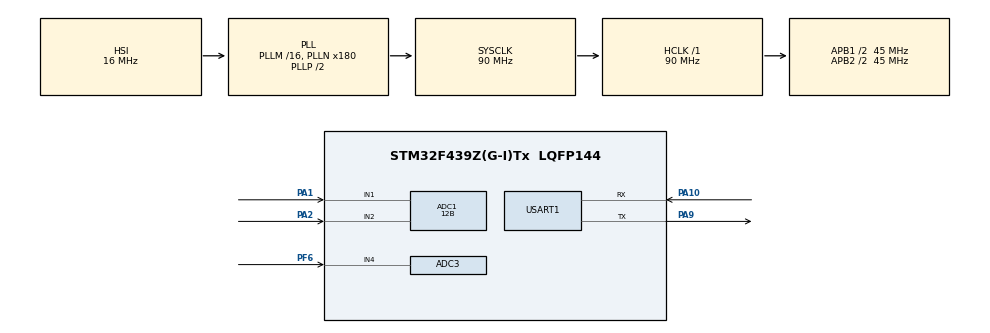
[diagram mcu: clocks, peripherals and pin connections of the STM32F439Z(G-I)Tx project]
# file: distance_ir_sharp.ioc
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ADC1.Channel-1\#ChannelRegularConversion=ADC_CHANNEL_1
ADC1.Channel-3\#ChannelRegularConversion=ADC_CHANNEL_2
ADC1.ClockPrescaler=ADC_CLOCK_SYNC_PCLK_DIV2
ADC1.ContinuousConvMode=ENABLE
ADC1.NbrOfConversion=2
ADC1.NbrOfConversionFlag=1
ADC1.Rank-1\#ChannelRegularConversion=1
ADC1.Rank-3\#ChannelRegularConversion=2
ADC1.Resolution=ADC_RESOLUTION_12B
ADC1.SamplingTime-1\#ChannelRegularConversion=ADC_SAMPLETIME_3CYCLES
ADC1.SamplingTime-3\#ChannelRegularConversion=ADC_SAMPLETIME_3CYCLES
ADC1.master=1
ADC3.Channel-7\#ChannelRegularConversion=ADC_CHANNEL_4
ADC3.ContinuousConvMode=ENABLE
ADC3.NbrOfConversionFlag=1
ADC3.Rank-7\#ChannelRegularConversion=1
ADC3.SamplingTime-7\#ChannelRegularConversion=ADC_SAMPLETIME_3CYCLES
Mcu.Family=STM32F4
Mcu.Name=STM32F439Z(G-I)Tx
Mcu.Package=LQFP144
NVIC.ADC_IRQn=true\:0\:0\:false\:false\:true\:true\:true
NVIC.PriorityGroup=NVIC_PRIORITYGROUP_4
PA1.Signal=ADCx_IN1
PA10.Mode=Asynchronous
PA10.Signal=USART1_RX
PA2.Signal=ADCx_IN2
PA9.Mode=Asynchronous
PA9.Signal=USART1_TX
PF6.Mode=IN4
PF6.Signal=ADC3_IN4
ProjectManager.HeapSize=0x200
ProjectManager.StackSize=0x400
ProjectManager.TargetToolchain=MDK-ARM V5
RCC.48MHZClocksFreq_Value=45000000
RCC.AHBFreq_Value=90000000
RCC.APB1CLKDivider=RCC_HCLK_DIV2
RCC.APB1Freq_Value=45000000
RCC.APB1TimFreq_Value=90000000
RCC.APB2CLKDivider=RCC_HCLK_DIV2
RCC.APB2Freq_Value=45000000
RCC.APB2TimFreq_Value=90000000
RCC.CortexFreq_Value=90000000
RCC.HCLKFreq_Value=90000000
RCC.HSE_VALUE=25000000
RCC.HSI_VALUE=16000000
RCC.LSE_VALUE=32768
RCC.PLLN=180
RCC.SYSCLKFreq_VALUE=90000000
RCC.SYSCLKSource=RCC_SYSCLKSOURCE_PLLCLK
RCC.VCOOutputFreq_Value=180000000
SH.ADCx_IN1.0=ADC1_IN1,IN1
SH.ADCx_IN2.0=ADC1_IN2,IN2
TIM4.Prescaler=89
USART1.VirtualMode=VM_ASYNC
VP_TIM4_VS_ClockSourceINT.Mode=Internal
board=custom

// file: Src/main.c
/* USER CODE BEGIN Header */
/**
  ******************************************************************************
  * @file           : main.c
  * @brief          : Main program body
  ******************************************************************************
  * @attention
  *
  * <h2><center>&copy; Copyright (c) 2020 STMicroelectronics.
  * All rights reserved.</center></h2>
  *
  * This software component is licensed by ST under BSD 3-Clause license,
  * the "License"; You may not use this file except in compliance with the
  * License. You may obtain a copy of the License at:
  *                        opensource.org/licenses/BSD-3-Clause
  *
  ******************************************************************************
  */
/* USER CODE END Header */

#include "main.h"

/* USER CODE BEGIN Includes */
#include <string.h>
#include <stdio.h>
/* USER CODE END Includes */

/* USER CODE BEGIN PTD */
#define usTIM TIM4
/* USER CODE END PTD */

ADC_HandleTypeDef hadc1;
ADC_HandleTypeDef hadc3;

TIM_HandleTypeDef htim4;

UART_HandleTypeDef huart1;

void SystemClock_Config(void);
static void MX_GPIO_Init(void);
static void MX_ADC1_Init(void);
static void MX_USART1_UART_Init(void);
static void MX_TIM4_Init(void);
static void MX_ADC3_Init(void);
/* USER CODE BEGIN PFP */
void usDelay(uint32_t uSec);
/* USER CODE END PFP */

/* USER CODE BEGIN 0 */
float distance;
uint32_t adcvalue;
char uartBuf[100];
uint8_t icFlag = 0;

/* USER CODE END 0 */

int main(void)
{

  /* MCU Configuration--------------------------------------------------------*/

  /* Reset of all peripherals, Initializes the Flash interface and the Systick. */
  HAL_Init();

  /* Configure the system clock */
  SystemClock_Config();

  /* Initialize all configured peripherals */
  MX_GPIO_Init();
  MX_ADC1_Init();
  MX_USART1_UART_Init();
  MX_TIM4_Init();
  MX_ADC3_Init();
  /* USER CODE BEGIN 2 */
HAL_ADC_Start(&hadc1);

  /* USER CODE END 2 */

  /* Infinite loop */
  while (1)
  {

    /* USER CODE BEGIN 3 */
/*
    HAL_ADC_Start_IT (&hadc1);
    uint32_t startTick = HAL_GetTick();
		do
		{
			if(icFlag) break;
		}while((HAL_GetTick() - startTick) < 50);  //50ms
		icFlag = 0;
		HAL_ADC_Stop_IT(&hadc1);
		distance = adcvalue + 0.0f;
*/
		HAL_ADC_Start_IT (&hadc3);
		sprintf(uartBuf, "Voltage  = %u\r\n", adcvalue);
    //sprintf(uartBuf, "Distance (cm)  = %.4f\r\n", distance);
		HAL_UART_Transmit(&huart1, (uint8_t *)uartBuf, strlen(uartBuf), 100);
		HAL_Delay(1000);

  }
  /* USER CODE END 3 */
}

void SystemClock_Config(void)
{
  RCC_OscInitTypeDef RCC_OscInitStruct = {0};
  RCC_ClkInitTypeDef RCC_ClkInitStruct = {0};

  /** Configure the main internal regulator output voltage
  */
  __HAL_RCC_PWR_CLK_ENABLE();
  __HAL_PWR_VOLTAGESCALING_CONFIG(PWR_REGULATOR_VOLTAGE_SCALE3);
  /** Initializes the CPU, AHB and APB busses clocks
  */
  RCC_OscInitStruct.OscillatorType = RCC_OSCILLATORTYPE_HSI;
  RCC_OscInitStruct.HSIState = RCC_HSI_ON;
  RCC_OscInitStruct.HSICalibrationValue = RCC_HSICALIBRATION_DEFAULT;
  RCC_OscInitStruct.PLL.PLLState = RCC_PLL_ON;
  RCC_OscInitStruct.PLL.PLLSource = RCC_PLLSOURCE_HSI;
  RCC_OscInitStruct.PLL.PLLM = 16;
  RCC_OscInitStruct.PLL.PLLN = 180;
  RCC_OscInitStruct.PLL.PLLP = RCC_PLLP_DIV2;
  RCC_OscInitStruct.PLL.PLLQ = 4;
  if (HAL_RCC_OscConfig(&RCC_OscInitStruct) != HAL_OK)
  {
    Error_Handler();
  }
  /** Activate the Over-Drive mode
  */
  if (HAL_PWREx_EnableOverDrive() != HAL_OK)
  {
    Error_Handler();
  }
  /** Initializes the CPU, AHB and APB busses clocks
  */
  RCC_ClkInitStruct.ClockType = RCC_CLOCKTYPE_HCLK|RCC_CLOCKTYPE_SYSCLK
                              |RCC_CLOCKTYPE_PCLK1|RCC_CLOCKTYPE_PCLK2;
  RCC_ClkInitStruct.SYSCLKSource = RCC_SYSCLKSOURCE_PLLCLK;
  RCC_ClkInitStruct.AHBCLKDivider = RCC_SYSCLK_DIV1;
  RCC_ClkInitStruct.APB1CLKDivider = RCC_HCLK_DIV2;
  RCC_ClkInitStruct.APB2CLKDivider = RCC_HCLK_DIV2;

  if (HAL_RCC_ClockConfig(&RCC_ClkInitStruct, FLASH_LATENCY_2) != HAL_OK)
  {
    Error_Handler();
  }
}

static void MX_ADC1_Init(void)
{

  ADC_ChannelConfTypeDef sConfig = {0};

  /** Configure the global features of the ADC (Clock, Resolution, Data Alignment and number of conversion)
  */
  hadc1.Instance = ADC1;
  hadc1.Init.ClockPrescaler = ADC_CLOCK_SYNC_PCLK_DIV2;
  hadc1.Init.Resolution = ADC_RESOLUTION_12B;
  hadc1.Init.ScanConvMode = ENABLE;
  hadc1.Init.ContinuousConvMode = ENABLE;
  hadc1.Init.DiscontinuousConvMode = DISABLE;
  hadc1.Init.ExternalTrigConvEdge = ADC_EXTERNALTRIGCONVEDGE_NONE;
  hadc1.Init.ExternalTrigConv = ADC_SOFTWARE_START;
  hadc1.Init.DataAlign = ADC_DATAALIGN_RIGHT;
  hadc1.Init.NbrOfConversion = 2;
  hadc1.Init.DMAContinuousRequests = DISABLE;
  hadc1.Init.EOCSelection = ADC_EOC_SINGLE_CONV;
  if (HAL_ADC_Init(&hadc1) != HAL_OK)
  {
    Error_Handler();
  }
  /** Configure for the selected ADC regular channel its corresponding rank in the sequencer and its sample time.
  */
  sConfig.Channel = ADC_CHANNEL_1;
  sConfig.Rank = 1;
  sConfig.SamplingTime = ADC_SAMPLETIME_3CYCLES;
  if (HAL_ADC_ConfigChannel(&hadc1, &sConfig) != HAL_OK)
  {
    Error_Handler();
  }
  /** Configure for the selected ADC regular channel its corresponding rank in the sequencer and its sample time.
  */
  sConfig.Channel = ADC_CHANNEL_2;
  sConfig.Rank = 2;
  if (HAL_ADC_ConfigChannel(&hadc1, &sConfig) != HAL_OK)
  {
    Error_Handler();
  }

}

static void MX_ADC3_Init(void)
{

  ADC_ChannelConfTypeDef sConfig = {0};

  /** Configure the global features of the ADC (Clock, Resolution, Data Alignment and number of conversion)
  */
  hadc3.Instance = ADC3;
  hadc3.Init.ClockPrescaler = ADC_CLOCK_SYNC_PCLK_DIV2;
  hadc3.Init.Resolution = ADC_RESOLUTION_12B;
  hadc3.Init.ScanConvMode = DISABLE;
  hadc3.Init.ContinuousConvMode = ENABLE;
  hadc3.Init.DiscontinuousConvMode = DISABLE;
  hadc3.Init.ExternalTrigConvEdge = ADC_EXTERNALTRIGCONVEDGE_NONE;
  hadc3.Init.ExternalTrigConv = ADC_SOFTWARE_START;
  hadc3.Init.DataAlign = ADC_DATAALIGN_RIGHT;
  hadc3.Init.NbrOfConversion = 1;
  hadc3.Init.DMAContinuousRequests = DISABLE;
  hadc3.Init.EOCSelection = ADC_EOC_SINGLE_CONV;
  if (HAL_ADC_Init(&hadc3) != HAL_OK)
  {
    Error_Handler();
  }
  /** Configure for the selected ADC regular channel its corresponding rank in the sequencer and its sample time.
  */
  sConfig.Channel = ADC_CHANNEL_4;
  sConfig.Rank = 1;
  sConfig.SamplingTime = ADC_SAMPLETIME_3CYCLES;
  if (HAL_ADC_ConfigChannel(&hadc3, &sConfig) != HAL_OK)
  {
    Error_Handler();
  }

}

static void MX_TIM4_Init(void)
{

  TIM_ClockConfigTypeDef sClockSourceConfig = {0};
  TIM_MasterConfigTypeDef sMasterConfig = {0};

  htim4.Instance = TIM4;
  htim4.Init.Prescaler = 89;
  htim4.Init.CounterMode = TIM_COUNTERMODE_UP;
  htim4.Init.Period = 0;
  htim4.Init.ClockDivision = TIM_CLOCKDIVISION_DIV1;
  htim4.Init.AutoReloadPreload = TIM_AUTORELOAD_PRELOAD_DISABLE;
  if (HAL_TIM_Base_Init(&htim4) != HAL_OK)
  {
    Error_Handler();
  }
  sClockSourceConfig.ClockSource = TIM_CLOCKSOURCE_INTERNAL;
  if (HAL_TIM_ConfigClockSource(&htim4, &sClockSourceConfig) != HAL_OK)
  {
    Error_Handler();
  }
  sMasterConfig.MasterOutputTrigger = TIM_TRGO_RESET;
  sMasterConfig.MasterSlaveMode = TIM_MASTERSLAVEMODE_DISABLE;
  if (HAL_TIMEx_MasterConfigSynchronization(&htim4, &sMasterConfig) != HAL_OK)
  {
    Error_Handler();
  }

}

static void MX_USART1_UART_Init(void)
{

  huart1.Instance = USART1;
  huart1.Init.BaudRate = 115200;
  huart1.Init.WordLength = UART_WORDLENGTH_8B;
  huart1.Init.StopBits = UART_STOPBITS_1;
  huart1.Init.Parity = UART_PARITY_NONE;
  huart1.Init.Mode = UART_MODE_TX_RX;
  huart1.Init.HwFlowCtl = UART_HWCONTROL_NONE;
  huart1.Init.OverSampling = UART_OVERSAMPLING_16;
  if (HAL_UART_Init(&huart1) != HAL_OK)
  {
    Error_Handler();
  }

}

static void MX_GPIO_Init(void)
{

  /* GPIO Ports Clock Enable */
  __HAL_RCC_GPIOF_CLK_ENABLE();
  __HAL_RCC_GPIOA_CLK_ENABLE();

}

/* USER CODE BEGIN 4 */
void usDelay(uint32_t uSec)
{
	if(uSec < 2) uSec = 2;
	usTIM->ARR = uSec - 1; 	/*sets the value in the auto-reload register*/
	usTIM->EGR = 1; 			/*Re-initialises the timer*/
	usTIM->SR &= ~1; 		//Resets the flag
	usTIM->CR1 |= 1; 		//Enables the counter
	while((usTIM->SR&0x0001) != 1);
	usTIM->SR &= ~(0x0001);
}

void HAL_ADC_ConvCpltCallback( ADC_HandleTypeDef *hadc)
{
			adcvalue = HAL_ADC_GetValue (&hadc1);
	    icFlag = 1;
}

/* USER CODE END 4 */

void Error_Handler(void)
{
}

/************************ (C) COPYRIGHT STMicroelectronics *****END OF FILE****/
